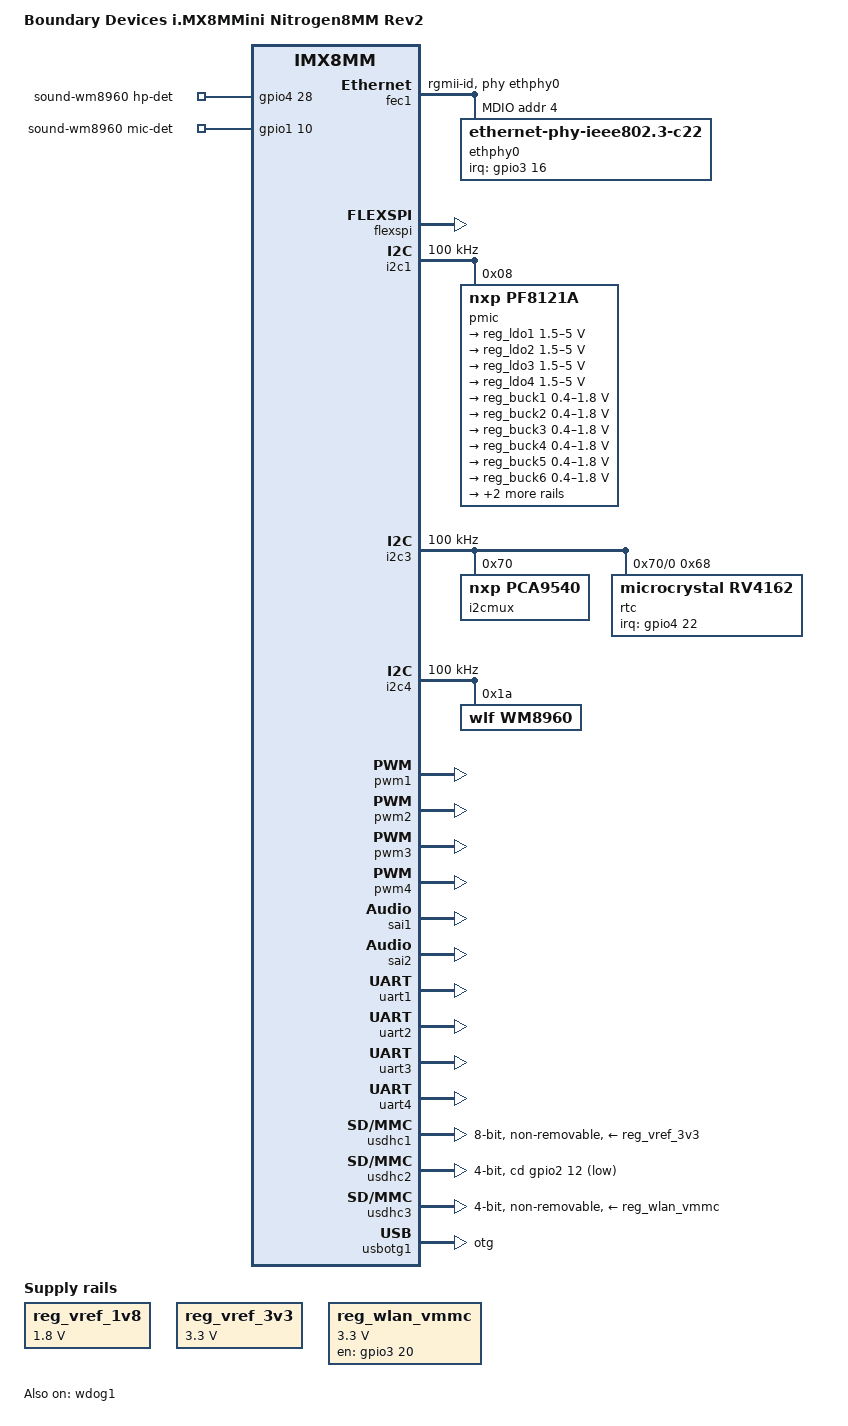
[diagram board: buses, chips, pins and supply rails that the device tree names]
// SPDX-License-Identifier: (GPL-2.0+ OR MIT)
/*
 * Device Tree file for Boundary Devices i.MX8MMini Nitrogen8MM Rev2 board.
 * Adrien Grassein <adrien.grassein@gmail.com.com>
 */
/dts-v1/;
#include "imx8mm.dtsi"

/ {
	model = "Boundary Devices i.MX8MMini Nitrogen8MM Rev2";
	compatible = "boundary,imx8mm-nitrogen8mm", "fsl,imx8mm";

	reg_vref_1v8: regulator-vref-1v8 {
		compatible = "regulator-fixed";
		regulator-name = "vref-1v8";
		regulator-min-microvolt = <1800000>;
		regulator-max-microvolt = <1800000>;
	};

	reg_vref_3v3: regulator-vref-3v3 {
		compatible = "regulator-fixed";
		regulator-name = "vref-3v3";
		regulator-min-microvolt = <3300000>;
		regulator-max-microvolt = <3300000>;
	};

	reg_wlan_vmmc: regulator-wlan-vmmc {
		compatible = "regulator-fixed";
		pinctrl-names = "default";
		pinctrl-0 = <&pinctrl_reg_wlan_vmmc>;
		regulator-name = "reg_wlan_vmmc";
		regulator-min-microvolt = <3300000>;
		regulator-max-microvolt = <3300000>;
		gpio = <&gpio3 20 GPIO_ACTIVE_HIGH>;
		enable-active-high;
	};

	sound-wm8960 {
		audio-cpu = <&sai1>;
		audio-codec = <&wm8960>;
		audio-routing =
			"Headphone Jack", "HP_L",
			"Headphone Jack", "HP_R",
			"Ext Spk", "SPK_LP",
			"Ext Spk", "SPK_LN",
			"Ext Spk", "SPK_RP",
			"Ext Spk", "SPK_RN",
			"RINPUT1", "Mic Jack",
			"Mic Jack", "MICB";
		compatible = "fsl,imx-audio-wm8960";
		/* JD2: hp detect high for headphone*/
		hp-det-gpios = <&gpio4 28 GPIO_ACTIVE_HIGH>;
		/* Jack is not stuffed */
		mic-det-gpios = <&gpio1 10 GPIO_ACTIVE_HIGH>;
		model = "wm8960-audio";
		pinctrl-names = "default";
		pinctrl-0 = <&pinctrl_sound_wm8960>;
	};
};

&A53_0 {
	cpu-supply = <&reg_buck3>;
};

&A53_1 {
	cpu-supply = <&reg_buck3>;
};

&A53_2 {
	cpu-supply = <&reg_buck3>;
};

&A53_3 {
	cpu-supply = <&reg_buck3>;
};

&fec1 {
	pinctrl-names = "default";
	pinctrl-0 = <&pinctrl_fec1>;
	phy-mode = "rgmii-id";
	phy-handle = <&ethphy0>;
	fsl,magic-packet;
	status = "okay";

	mdio {
		#address-cells = <1>;
		#size-cells = <0>;

		ethphy0: ethernet-phy@4 {
			compatible = "ethernet-phy-ieee802.3-c22";
			reg = <4>;
			interrupts-extended = <&gpio3 16 IRQ_TYPE_LEVEL_LOW>;
		};
	};
};

&flexspi {
	pinctrl-names = "default";
	pinctrl-0 = <&pinctrl_flexspi>;
	status = "okay";
};

&i2c1 {
	clock-frequency = <100000>;
	pinctrl-names = "default";
	pinctrl-0 = <&pinctrl_i2c1>;
	status = "okay";

	pmic@8 {
		compatible = "nxp,pf8121a";
		reg = <0x8>;

		regulators {
			reg_ldo1: ldo1 {
				regulator-min-microvolt = <1500000>;
				regulator-max-microvolt = <5000000>;
				regulator-boot-on;
				regulator-always-on;
			};

			reg_ldo2: ldo2 {
				regulator-min-microvolt = <1500000>;
				regulator-max-microvolt = <5000000>;
				regulator-boot-on;
				regulator-always-on;
			};

			reg_ldo3: ldo3 {
				regulator-min-microvolt = <1500000>;
				regulator-max-microvolt = <5000000>;
				regulator-boot-on;
				regulator-always-on;
			};

			reg_ldo4: ldo4 {
				regulator-min-microvolt = <1500000>;
				regulator-max-microvolt = <5000000>;
				regulator-boot-on;
				regulator-always-on;
			};

			reg_buck1: buck1 {
				regulator-min-microvolt = <400000>;
				regulator-max-microvolt = <1800000>;
				regulator-boot-on;
				regulator-always-on;
			};

			reg_buck2: buck2 {
				regulator-min-microvolt = <400000>;
				regulator-max-microvolt = <1800000>;
				regulator-boot-on;
				regulator-always-on;
			};

			reg_buck3: buck3 {
				regulator-min-microvolt = <400000>;
				regulator-max-microvolt = <1800000>;
				regulator-boot-on;
				regulator-always-on;
			};

			reg_buck4: buck4 {
				regulator-min-microvolt = <400000>;
				regulator-max-microvolt = <1800000>;
				regulator-boot-on;
				regulator-always-on;
			};

			reg_buck5: buck5 {
				regulator-min-microvolt = <400000>;
				regulator-max-microvolt = <1800000>;
				regulator-boot-on;
				regulator-always-on;
			};

			reg_buck6: buck6 {
				regulator-min-microvolt = <400000>;
				regulator-max-microvolt = <1800000>;
				regulator-boot-on;
				regulator-always-on;
			};

			reg_buck7: buck7 {
				regulator-min-microvolt = <3300000>;
				regulator-max-microvolt = <3300000>;
				regulator-boot-on;
				regulator-always-on;
			};

			reg_vsnvs: vsnvs {
				regulator-min-microvolt = <1800000>;
				regulator-max-microvolt = <3300000>;
				regulator-boot-on;
			};
		};
	};
};

&i2c3 {
	clock-frequency = <100000>;
	pinctrl-names = "default";
	pinctrl-0 = <&pinctrl_i2c3>;
	status = "okay";

	i2cmux@70 {
		compatible = "nxp,pca9540";
		reg = <0x70>;
		#address-cells = <1>;
		#size-cells = <0>;

		i2c3@0 {
			reg = <0>;
			#address-cells = <1>;
			#size-cells = <0>;

			rtc@68 {
				compatible = "microcrystal,rv4162";
				reg = <0x68>;
				pinctrl-names = "default";
				pinctrl-0 = <&pinctrl_i2c3a_rv4162>;
				interrupts-extended = <&gpio4 22 IRQ_TYPE_LEVEL_LOW>;
				wakeup-source;
			};
		};
	};
};

&i2c4 {
	clock-frequency = <100000>;
	pinctrl-names = "default";
	pinctrl-0 = <&pinctrl_i2c4>;
	status = "okay";

	wm8960: codec@1a {
		compatible = "wlf,wm8960";
		reg = <0x1a>;
		clocks = <&clk IMX8MM_CLK_SAI1_ROOT>;
		clock-names = "mclk1";
		wlf,shared-lrclk;
		#sound-dai-cells = <0>;
	};
};

&pwm1 {
	pinctrl-names = "default";
	pinctrl-0 = <&pinctrl_pwm1>;
	status = "okay";
};

&pwm2 {
	assigned-clocks = <&clk IMX8MM_CLK_PWM2>;
	assigned-clock-parents = <&clk IMX8MM_SYS_PLL1_40M>;
	assigned-clock-rates = <40000000>;
	pinctrl-names = "default";
	pinctrl-0 = <&pinctrl_pwm2>;
	status = "okay";
};

&pwm3 {
	pinctrl-names = "default";
	pinctrl-0 = <&pinctrl_pwm3>;
	status = "okay";
};

&pwm4 {
	pinctrl-names = "default";
	pinctrl-0 = <&pinctrl_pwm4>;
	status = "okay";
};

&sai1 {
	pinctrl-names = "default";
	pinctrl-0 = <&pinctrl_sai1>;
	status = "okay";
};

&sai2 {
	pinctrl-names = "default";
	pinctrl-0 = <&pinctrl_sai2>;
	status = "okay";
};

/* BT */
&uart1 {
	pinctrl-names = "default";
	pinctrl-0 = <&pinctrl_uart1>;
	uart-has-rtscts;
	status = "okay";
};

/* console */
&uart2 {
	pinctrl-names = "default";
	pinctrl-0 = <&pinctrl_uart2>;
	status = "okay";
};

/* J15 */
&uart3 {
	pinctrl-names = "default";
	pinctrl-0 = <&pinctrl_uart3>;
	uart-has-rtscts;
	status = "okay";
};

/* J9 */
&uart4 {
	pinctrl-names = "default";
	pinctrl-0 = <&pinctrl_uart4>;
	status = "okay";
};

/* eMMC */
&usdhc1 {
	bus-width = <8>;
	sdhci-caps-mask = <0x80000000 0x0>;
	non-removable;
	pinctrl-names = "default", "state_100mhz", "state_200mhz";
	pinctrl-0 = <&pinctrl_usdhc1>;
	pinctrl-1 = <&pinctrl_usdhc1_100mhz>;
	pinctrl-2 = <&pinctrl_usdhc1_200mhz>;
	vmmc-supply = <&reg_vref_3v3>;
	vqmmc-supply = <&reg_vref_1v8>;
	status = "okay";
};

/* sdcard */
&usdhc2 {
	bus-width = <4>;
	cd-gpios = <&gpio2 12 GPIO_ACTIVE_LOW>;
	pinctrl-names = "default", "state_100mhz", "state_200mhz";
	pinctrl-0 = <&pinctrl_usdhc2>;
	pinctrl-1 = <&pinctrl_usdhc2_100mhz>;
	pinctrl-2 = <&pinctrl_usdhc2_200mhz>;
	vqmmc-supply = <&reg_ldo2>;
	status = "okay";
};

/* wlan */
&usdhc3 {
	bus-width = <4>;
	sdhci-caps-mask = <0x2 0x0>;
	non-removable;
	pinctrl-names = "default", "state_100mhz", "state_200mhz";
	pinctrl-0 = <&pinctrl_usdhc3>;
	pinctrl-1 = <&pinctrl_usdhc3_100mhz>;
	pinctrl-2 = <&pinctrl_usdhc3_200mhz>;
	vmmc-supply = <&reg_wlan_vmmc>;
	vqmmc-supply = <&reg_vref_1v8>;
	status = "okay";
};

/* USB OTG port */
&usbotg1 {
	dr_mode = "otg";
	over-current-active-low;
	pinctrl-names = "default";
	pinctrl-0 = <&pinctrl_usbotg1>;
	power-active-high;
	status = "okay";
};

/* USB Host port */
&usbotg2 {
	dr_mode = "host";
	over-current-active-low;
	pinctrl-names = "default";
	pinctrl-0 = <&pinctrl_usbotg2>;
	power-active-high;
	/*
	 * FIXME: having USB2 enabled hangs the boot just after:
	 *[    1.655941] ci_hdrc ci_hdrc.1: EHCI Host Controller
	 *[    1.660880] ci_hdrc ci_hdrc.1: new USB bus registered, assigned bus number 2
	 *[    1.681505] ci_hdrc ci_hdrc.1: USB 2.0 started, EHCI 1.00
	 *[    1.687730] hub 2-0:1.0: USB hub found
	 *[    1.691528] hub 2-0:1.0: 1 port detected
	 */
	status = "disabled";
};

&wdog1 {
	pinctrl-names = "default";
	pinctrl-0 = <&pinctrl_wdog>;
	fsl,ext-reset-output;
	status = "okay";
};

&iomuxc {
	pinctrl-names = "default";
	pinctrl-0 = <&pinctrl_hog>;

	pinctrl_fec1: fec1grp {
		fsl,pins = <
			MX8MM_IOMUXC_ENET_MDC_ENET1_MDC			0x3
			MX8MM_IOMUXC_ENET_MDIO_ENET1_MDIO		0x3
			MX8MM_IOMUXC_ENET_TD3_ENET1_RGMII_TD3		0x1f
			MX8MM_IOMUXC_ENET_TD2_ENET1_RGMII_TD2		0x1f
			MX8MM_IOMUXC_ENET_TD1_ENET1_RGMII_TD1		0x1f
			MX8MM_IOMUXC_ENET_TD0_ENET1_RGMII_TD0		0x1f
			MX8MM_IOMUXC_ENET_RD3_ENET1_RGMII_RD3		0x91
			MX8MM_IOMUXC_ENET_RD2_ENET1_RGMII_RD2		0x91
			MX8MM_IOMUXC_ENET_RD1_ENET1_RGMII_RD1		0x91
			MX8MM_IOMUXC_ENET_RD0_ENET1_RGMII_RD0		0x91
			MX8MM_IOMUXC_ENET_TXC_ENET1_RGMII_TXC		0x1f
			MX8MM_IOMUXC_ENET_RXC_ENET1_RGMII_RXC		0x91
			MX8MM_IOMUXC_ENET_RX_CTL_ENET1_RGMII_RX_CTL	0x91
			MX8MM_IOMUXC_ENET_TX_CTL_ENET1_RGMII_TX_CTL	0x1f
			MX8MM_IOMUXC_NAND_READY_B_GPIO3_IO16		0x159
		>;
	};

	pinctrl_flexspi: flexspigrp {
		fsl,pins = <
			MX8MM_IOMUXC_NAND_ALE_QSPI_A_SCLK	0x1c2
			MX8MM_IOMUXC_NAND_CE0_B_QSPI_A_SS0_B	0x82
			MX8MM_IOMUXC_NAND_DATA00_QSPI_A_DATA0	0x82
			MX8MM_IOMUXC_NAND_DATA01_QSPI_A_DATA1	0x82
			MX8MM_IOMUXC_NAND_DATA02_QSPI_A_DATA2	0x82
			MX8MM_IOMUXC_NAND_DATA03_QSPI_A_DATA3	0x82
		>;
	};

	pinctrl_hog: hoggrp {
		fsl,pins = <
			MX8MM_IOMUXC_GPIO1_IO03_GPIO1_IO3 0x09
			MX8MM_IOMUXC_GPIO1_IO08_GPIO1_IO8 0x09
		>;
	};

	pinctrl_i2c1: i2c1grp {
		fsl,pins = <
			MX8MM_IOMUXC_I2C1_SCL_I2C1_SCL 0x400001c3
			MX8MM_IOMUXC_I2C1_SDA_I2C1_SDA 0x400001c3
		>;
	};

	pinctrl_i2c3: i2c3grp {
		fsl,pins = <
			MX8MM_IOMUXC_I2C3_SCL_I2C3_SCL 0x400001c3
			MX8MM_IOMUXC_I2C3_SDA_I2C3_SDA 0x400001c3
		>;
	};

	pinctrl_i2c4: i2c4grp {
		fsl,pins = <
			MX8MM_IOMUXC_I2C4_SCL_I2C4_SCL 0x400001c3
			MX8MM_IOMUXC_I2C4_SDA_I2C4_SDA 0x400001c3
		>;
	};

	pinctrl_i2c3a_rv4162: i2c3a-rv4162grp {
		fsl,pins = <
			MX8MM_IOMUXC_SAI2_RXC_GPIO4_IO22 0x1c0
		>;
	};

	pinctrl_pwm1: pwm1grp {
		fsl,pins = <
			MX8MM_IOMUXC_SPDIF_EXT_CLK_PWM1_OUT 0x16
		>;
	};

	pinctrl_pwm2: pwm2grp {
		fsl,pins = <
			MX8MM_IOMUXC_SPDIF_RX_PWM2_OUT 0x16
		>;
	};

	pinctrl_pwm3: pwm3grp {
		fsl,pins = <
			MX8MM_IOMUXC_SPDIF_TX_PWM3_OUT 0x16
		>;
	};

	pinctrl_pwm4: pwm4grp {
		fsl,pins = <
			MX8MM_IOMUXC_SAI3_MCLK_PWM4_OUT 0x16
		>;
	};

	pinctrl_reg_wlan_vmmc: reg-wlan-vmmcgrp {
		fsl,pins = <
			MX8MM_IOMUXC_SAI5_RXC_GPIO3_IO20 0x16
		>;
	};

	pinctrl_sai1: sai1grp {
		fsl,pins = <
			/* wm8960 */
			MX8MM_IOMUXC_SAI1_MCLK_SAI1_MCLK	0xd6
			MX8MM_IOMUXC_SAI1_TXFS_SAI1_TX_SYNC	0xd6
			MX8MM_IOMUXC_SAI1_TXC_SAI1_TX_BCLK	0xd6
			MX8MM_IOMUXC_SAI1_TXD0_SAI1_TX_DATA0	0xd6
			MX8MM_IOMUXC_SAI1_RXD0_SAI1_RX_DATA0	0xd6
		>;
	};

	pinctrl_sai2: sai2grp {
		fsl,pins = <
			/* Bluetooth PCM */
			MX8MM_IOMUXC_SAI2_TXFS_SAI2_TX_SYNC	0xd6
			MX8MM_IOMUXC_SAI2_TXC_SAI2_TX_BCLK	0xd6
			MX8MM_IOMUXC_SAI2_TXD0_SAI2_TX_DATA0	0xd6
			MX8MM_IOMUXC_SAI2_RXD0_SAI2_RX_DATA0	0xd6
		>;
	};

	pinctrl_sound_wm8960: sound-wm8960grp {
		fsl,pins = <
			MX8MM_IOMUXC_GPIO1_IO10_GPIO1_IO10	0x80
			MX8MM_IOMUXC_SAI3_RXFS_GPIO4_IO28	0x80
		>;
	};

	pinctrl_uart1: uart1grp {
		fsl,pins = <
			MX8MM_IOMUXC_UART1_RXD_UART1_DCE_RX 0x140
			MX8MM_IOMUXC_UART1_TXD_UART1_DCE_TX 0x140
			MX8MM_IOMUXC_UART3_RXD_UART1_DCE_CTS_B 0x140
			MX8MM_IOMUXC_UART3_TXD_UART1_DCE_RTS_B 0x140
		>;
	};

	pinctrl_uart2: uart2grp {
		fsl,pins = <
			MX8MM_IOMUXC_UART2_RXD_UART2_DCE_RX 0x140
			MX8MM_IOMUXC_UART2_TXD_UART2_DCE_TX 0x140
		>;
	};

	pinctrl_uart3: uart3grp {
		fsl,pins = <
			MX8MM_IOMUXC_ECSPI1_SCLK_UART3_DCE_RX 0x140
			MX8MM_IOMUXC_ECSPI1_MOSI_UART3_DCE_TX 0x140
			MX8MM_IOMUXC_ECSPI1_SS0_UART3_DCE_RTS_B 0x140
			MX8MM_IOMUXC_ECSPI1_MISO_UART3_DCE_CTS_B 0x140
		>;
	};

	pinctrl_uart4: uart4grp {
		fsl,pins = <
			MX8MM_IOMUXC_UART4_RXD_UART4_DCE_RX 0x140
			MX8MM_IOMUXC_UART4_TXD_UART4_DCE_TX 0x140
		>;
	};

	pinctrl_usbotg1: usbotg1grp {
		fsl,pins = <
			MX8MM_IOMUXC_GPIO1_IO12_USB1_OTG_PWR	0x16
			MX8MM_IOMUXC_GPIO1_IO13_USB1_OTG_OC	0x156
		>;
	};

	pinctrl_usbotg2: usbotg2grp {
		fsl,pins = <
			MX8MM_IOMUXC_GPIO1_IO14_USB2_OTG_PWR	0x16
			MX8MM_IOMUXC_GPIO1_IO15_USB2_OTG_OC	0x15
		>;
	};

	pinctrl_usdhc1: usdhc1grp {
		fsl,pins = <
			MX8MM_IOMUXC_SD1_CLK_USDHC1_CLK		0x190
			MX8MM_IOMUXC_SD1_CMD_USDHC1_CMD		0x1d0
			MX8MM_IOMUXC_SD1_DATA0_USDHC1_DATA0	0x1d0
			MX8MM_IOMUXC_SD1_DATA1_USDHC1_DATA1	0x1d0
			MX8MM_IOMUXC_SD1_DATA2_USDHC1_DATA2	0x1d0
			MX8MM_IOMUXC_SD1_DATA3_USDHC1_DATA3	0x1d0
			MX8MM_IOMUXC_SD1_DATA4_USDHC1_DATA4	0x1d0
			MX8MM_IOMUXC_SD1_DATA5_USDHC1_DATA5	0x1d0
			MX8MM_IOMUXC_SD1_DATA6_USDHC1_DATA6	0x1d0
			MX8MM_IOMUXC_SD1_DATA7_USDHC1_DATA7	0x1d0
			MX8MM_IOMUXC_SD1_RESET_B_GPIO2_IO10	0x141
		>;
	};

	pinctrl_usdhc1_100mhz: usdhc1-100mhz-grp {
		fsl,pins = <
			MX8MM_IOMUXC_SD1_CLK_USDHC1_CLK		0x194
			MX8MM_IOMUXC_SD1_CMD_USDHC1_CMD		0x1d4
			MX8MM_IOMUXC_SD1_DATA0_USDHC1_DATA0	0x1d4
			MX8MM_IOMUXC_SD1_DATA1_USDHC1_DATA1	0x1d4
			MX8MM_IOMUXC_SD1_DATA2_USDHC1_DATA2	0x1d4
			MX8MM_IOMUXC_SD1_DATA3_USDHC1_DATA3	0x1d4
			MX8MM_IOMUXC_SD1_DATA4_USDHC1_DATA4	0x1d4
			MX8MM_IOMUXC_SD1_DATA5_USDHC1_DATA5	0x1d4
			MX8MM_IOMUXC_SD1_DATA6_USDHC1_DATA6	0x1d4
			MX8MM_IOMUXC_SD1_DATA7_USDHC1_DATA7	0x1d4
		>;
	};

	pinctrl_usdhc1_200mhz: usdhc1-200mhz-grp {
		fsl,pins = <
			MX8MM_IOMUXC_SD1_CLK_USDHC1_CLK		0x196
			MX8MM_IOMUXC_SD1_CMD_USDHC1_CMD		0x1d6
			MX8MM_IOMUXC_SD1_DATA0_USDHC1_DATA0	0x1d6
			MX8MM_IOMUXC_SD1_DATA1_USDHC1_DATA1	0x1d6
			MX8MM_IOMUXC_SD1_DATA2_USDHC1_DATA2	0x1d6
			MX8MM_IOMUXC_SD1_DATA3_USDHC1_DATA3	0x1d6
			MX8MM_IOMUXC_SD1_DATA4_USDHC1_DATA4	0x1d6
			MX8MM_IOMUXC_SD1_DATA5_USDHC1_DATA5	0x1d6
			MX8MM_IOMUXC_SD1_DATA6_USDHC1_DATA6	0x1d6
			MX8MM_IOMUXC_SD1_DATA7_USDHC1_DATA7	0x1d6
		>;
	};

	pinctrl_usdhc2: usdhc2grp {
		fsl,pins = <
			MX8MM_IOMUXC_SD2_CLK_USDHC2_CLK		0x190
			MX8MM_IOMUXC_SD2_CMD_USDHC2_CMD		0x1d0
			MX8MM_IOMUXC_SD2_DATA0_USDHC2_DATA0	0x1d0
			MX8MM_IOMUXC_SD2_DATA1_USDHC2_DATA1	0x1d0
			MX8MM_IOMUXC_SD2_DATA2_USDHC2_DATA2	0x1d0
			MX8MM_IOMUXC_SD2_DATA3_USDHC2_DATA3	0x1d0
			MX8MM_IOMUXC_SD2_CD_B_GPIO2_IO12	0x1c4
		>;
	};

	pinctrl_usdhc2_100mhz: usdhc2-100mhz-grp {
		fsl,pins = <
			MX8MM_IOMUXC_SD2_CLK_USDHC2_CLK		0x194
			MX8MM_IOMUXC_SD2_CMD_USDHC2_CMD		0x1d4
			MX8MM_IOMUXC_SD2_DATA0_USDHC2_DATA0	0x1d4
			MX8MM_IOMUXC_SD2_DATA1_USDHC2_DATA1	0x1d4
			MX8MM_IOMUXC_SD2_DATA2_USDHC2_DATA2	0x1d4
			MX8MM_IOMUXC_SD2_DATA3_USDHC2_DATA3	0x1d4
		>;
	};

	pinctrl_usdhc2_200mhz: usdhc2-200mhz-grp {
		fsl,pins = <
			MX8MM_IOMUXC_SD2_CLK_USDHC2_CLK		0x196
			MX8MM_IOMUXC_SD2_CMD_USDHC2_CMD		0x1d6
			MX8MM_IOMUXC_SD2_DATA0_USDHC2_DATA0	0x1d6
			MX8MM_IOMUXC_SD2_DATA1_USDHC2_DATA1	0x1d6
			MX8MM_IOMUXC_SD2_DATA2_USDHC2_DATA2	0x1d6
			MX8MM_IOMUXC_SD2_DATA3_USDHC2_DATA3	0x1d6
		>;
	};

	pinctrl_usdhc3: usdhc3grp {
		fsl,pins = <
			MX8MM_IOMUXC_NAND_WE_B_USDHC3_CLK		0x190
			MX8MM_IOMUXC_NAND_WP_B_USDHC3_CMD		0x1d0
			MX8MM_IOMUXC_NAND_DATA04_USDHC3_DATA0		0x1d0
			MX8MM_IOMUXC_NAND_DATA05_USDHC3_DATA1		0x1d0
			MX8MM_IOMUXC_NAND_DATA06_USDHC3_DATA2		0x1d0
			MX8MM_IOMUXC_NAND_DATA07_USDHC3_DATA3		0x1d0
			MX8MM_IOMUXC_GPIO1_IO00_ANAMIX_REF_CLK_32K	0x03
		>;
	};

	pinctrl_usdhc3_100mhz: usdhc3-100mhz-grp {
		fsl,pins = <
			MX8MM_IOMUXC_NAND_WE_B_USDHC3_CLK	0x194
			MX8MM_IOMUXC_NAND_WP_B_USDHC3_CMD	0x1d4
			MX8MM_IOMUXC_NAND_DATA04_USDHC3_DATA0	0x1d4
			MX8MM_IOMUXC_NAND_DATA05_USDHC3_DATA1	0x1d4
			MX8MM_IOMUXC_NAND_DATA06_USDHC3_DATA2	0x1d4
			MX8MM_IOMUXC_NAND_DATA07_USDHC3_DATA3	0x1d4
		>;
	};

	pinctrl_usdhc3_200mhz: usdhc3-200mhz-grp {
		fsl,pins = <
			MX8MM_IOMUXC_NAND_WE_B_USDHC3_CLK	0x196
			MX8MM_IOMUXC_NAND_WP_B_USDHC3_CMD	0x1d6
			MX8MM_IOMUXC_NAND_DATA04_USDHC3_DATA0	0x1d6
			MX8MM_IOMUXC_NAND_DATA05_USDHC3_DATA1	0x1d6
			MX8MM_IOMUXC_NAND_DATA06_USDHC3_DATA2	0x1d6
			MX8MM_IOMUXC_NAND_DATA07_USDHC3_DATA3	0x1d6
		>;
	};

	pinctrl_wdog: wdoggrp {
		fsl,pins = <
			MX8MM_IOMUXC_GPIO1_IO02_WDOG1_WDOG_B 0x140
		>;
	};
};
